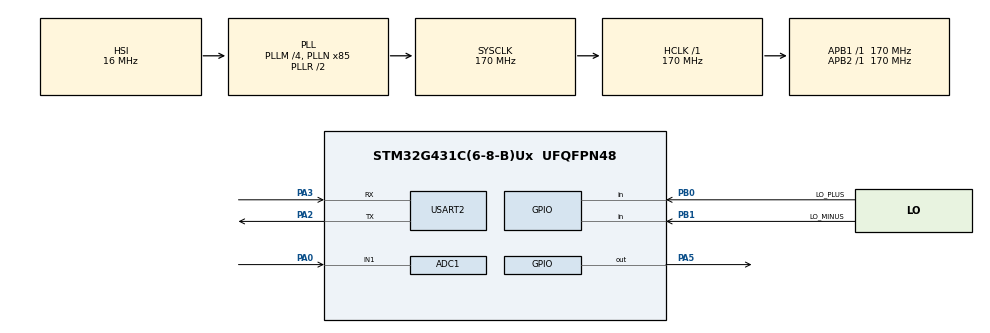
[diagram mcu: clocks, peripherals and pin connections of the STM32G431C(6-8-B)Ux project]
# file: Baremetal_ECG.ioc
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ADC1.Channel-0\#ChannelRegularConversion=ADC_CHANNEL_1
ADC1.ClockPrescaler=ADC_CLOCK_SYNC_PCLK_DIV4
ADC1.DMAContinuousRequests=ENABLE
ADC1.NbrOfConversionFlag=1
ADC1.OffsetNumber-0\#ChannelRegularConversion=ADC_OFFSET_NONE
ADC1.Overrun=ADC_OVR_DATA_OVERWRITTEN
ADC1.Rank-0\#ChannelRegularConversion=1
ADC1.SamplingTime-0\#ChannelRegularConversion=ADC_SAMPLETIME_47CYCLES_5
ADC1.master=1
Dma.ADC1.0.Direction=DMA_PERIPH_TO_MEMORY
Dma.ADC1.0.EventEnable=DISABLE
Dma.ADC1.0.Instance=DMA1_Channel1
Dma.ADC1.0.MemDataAlignment=DMA_MDATAALIGN_HALFWORD
Dma.ADC1.0.MemInc=DMA_MINC_ENABLE
Dma.ADC1.0.Mode=DMA_CIRCULAR
Dma.ADC1.0.PeriphDataAlignment=DMA_PDATAALIGN_HALFWORD
Dma.ADC1.0.PeriphInc=DMA_PINC_DISABLE
Dma.ADC1.0.Polarity=HAL_DMAMUX_REQ_GEN_RISING
Dma.ADC1.0.Priority=DMA_PRIORITY_LOW
Dma.ADC1.0.RequestNumber=1
Dma.ADC1.0.SignalID=NONE
Dma.ADC1.0.SyncEnable=DISABLE
Dma.ADC1.0.SyncPolarity=HAL_DMAMUX_SYNC_NO_EVENT
Dma.ADC1.0.SyncRequestNumber=1
Dma.ADC1.0.SyncSignalID=NONE
Dma.FMAC_READ.1.Direction=DMA_PERIPH_TO_MEMORY
Dma.FMAC_READ.1.EventEnable=DISABLE
Dma.FMAC_READ.1.Instance=DMA1_Channel2
Dma.FMAC_READ.1.MemDataAlignment=DMA_MDATAALIGN_HALFWORD
Dma.FMAC_READ.1.MemInc=DMA_MINC_ENABLE
Dma.FMAC_READ.1.Mode=DMA_CIRCULAR
Dma.FMAC_READ.1.PeriphDataAlignment=DMA_PDATAALIGN_WORD
Dma.FMAC_READ.1.PeriphInc=DMA_PINC_DISABLE
Dma.FMAC_READ.1.Polarity=HAL_DMAMUX_REQ_GEN_RISING
Dma.FMAC_READ.1.Priority=DMA_PRIORITY_MEDIUM
Dma.FMAC_READ.1.RequestNumber=1
Dma.FMAC_READ.1.SignalID=NONE
Dma.FMAC_READ.1.SyncEnable=DISABLE
Dma.FMAC_READ.1.SyncPolarity=HAL_DMAMUX_SYNC_NO_EVENT
Dma.FMAC_READ.1.SyncRequestNumber=1
Dma.FMAC_READ.1.SyncSignalID=NONE
Dma.FMAC_WRITE.2.Direction=DMA_MEMORY_TO_PERIPH
Dma.FMAC_WRITE.2.EventEnable=DISABLE
Dma.FMAC_WRITE.2.Instance=DMA1_Channel3
Dma.FMAC_WRITE.2.MemDataAlignment=DMA_MDATAALIGN_HALFWORD
Dma.FMAC_WRITE.2.MemInc=DMA_MINC_ENABLE
Dma.FMAC_WRITE.2.Mode=DMA_NORMAL
Dma.FMAC_WRITE.2.PeriphDataAlignment=DMA_PDATAALIGN_WORD
Dma.FMAC_WRITE.2.PeriphInc=DMA_PINC_DISABLE
Dma.FMAC_WRITE.2.Polarity=HAL_DMAMUX_REQ_GEN_RISING
Dma.FMAC_WRITE.2.Priority=DMA_PRIORITY_MEDIUM
Dma.FMAC_WRITE.2.RequestNumber=1
Dma.FMAC_WRITE.2.SignalID=NONE
Dma.FMAC_WRITE.2.SyncEnable=DISABLE
Dma.FMAC_WRITE.2.SyncPolarity=HAL_DMAMUX_SYNC_NO_EVENT
Dma.FMAC_WRITE.2.SyncRequestNumber=1
Dma.FMAC_WRITE.2.SyncSignalID=NONE
Dma.Request0=ADC1
Dma.Request1=FMAC_READ
Dma.Request2=FMAC_WRITE
Mcu.Family=STM32G4
Mcu.Name=STM32G431C(6-8-B)Ux
Mcu.Package=UFQFPN48
NVIC.DMA1_Channel1_IRQn=true\:0\:0\:false\:false\:true\:false\:true\:true
NVIC.DMA1_Channel2_IRQn=true\:0\:0\:false\:false\:true\:false\:true\:true
NVIC.DMA1_Channel3_IRQn=true\:0\:0\:false\:false\:true\:false\:true\:true
NVIC.FMAC_IRQn=true\:0\:0\:false\:false\:true\:true\:true\:true
NVIC.PriorityGroup=NVIC_PRIORITYGROUP_4
NVIC.TIM7_IRQn=true\:15\:0\:false\:false\:true\:false\:true\:true
NVIC.TimeBase=TIM7_IRQn
NVIC.TimeBaseIP=TIM7
PA0.Mode=IN1-Single-Ended
PA0.Signal=ADC1_IN1
PA13.Mode=Serial_Wire
PA13.Signal=SYS_JTMS-SWDIO
PA14.Mode=Serial_Wire
PA14.Signal=SYS_JTCK-SWCLK
PA2.Mode=Asynchronous
PA2.Signal=USART2_TX
PA3.Mode=Asynchronous
PA3.Signal=USART2_RX
PA5.Signal=GPIO_Output
PB0.GPIO_Label=LO_PLUS
PB0.Signal=GPIO_Input
PB1.GPIO_Label=LO_MINUS
PB1.Signal=GPIO_Input
PF0-OSC_IN.Mode=HSE-External-Oscillator
PF0-OSC_IN.Signal=RCC_OSC_IN
PF1-OSC_OUT.Mode=HSE-External-Oscillator
PF1-OSC_OUT.Signal=RCC_OSC_OUT
ProjectManager.HeapSize=0x200
ProjectManager.StackSize=0x400
ProjectManager.TargetToolchain=EWARM V8.50
RCC.ADC12Freq_Value=170000000
RCC.AHBFreq_Value=170000000
RCC.APB1Freq_Value=170000000
RCC.APB1TimFreq_Value=170000000
RCC.APB2Freq_Value=170000000
RCC.APB2TimFreq_Value=170000000
RCC.CortexFreq_Value=170000000
RCC.EXTERNAL_CLOCK_VALUE=12288000
RCC.HCLKFreq_Value=170000000
RCC.HSE_VALUE=8000000
RCC.HSI48_VALUE=48000000
RCC.HSI_VALUE=16000000
RCC.LSE_VALUE=32768
RCC.PLLM=RCC_PLLM_DIV4
RCC.PLLN=85
RCC.SYSCLKFreq_VALUE=170000000
RCC.SYSCLKSource=RCC_SYSCLKSOURCE_PLLCLK
RCC.USBFreq_Value=170000000
RCC.VCOOutputFreq_Value=340000000
TIM6.AutoReloadPreload=TIM_AUTORELOAD_PRELOAD_ENABLE
TIM6.PeriodNoDither=471
TIM6.Prescaler=999
TIM6.TIM_MasterOutputTrigger=TIM_TRGO_UPDATE
USART2.VirtualMode-Asynchronous=VM_ASYNC
VP_CORDIC_VS_CORDIC.Mode=CORDIC_Activate
VP_CRC_VS_CRC.Mode=CRC_Activate
VP_FMAC_VS_FMAC.Mode=FMAC_Activate
VP_SYS_VS_DBSignals.Mode=DisableDeadBatterySignals
VP_SYS_VS_tim7.Mode=TIM7
VP_TIM6_VS_ClockSourceINT.Mode=Enable_Timer
board=custom

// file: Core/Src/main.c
/* USER CODE BEGIN Header */
/**
  ******************************************************************************
  * @file           : main.c
  * @brief          : Main program body
  ******************************************************************************
  * @attention
  *
  * Copyright (c) 2026 STMicroelectronics.
  * All rights reserved.
  *
  * This software is licensed under terms that can be found in the LICENSE file
  * in the root directory of this software component.
  * If no LICENSE file comes with this software, it is provided AS-IS.
  *
  ******************************************************************************
  */
/* USER CODE END Header */
#include "main.h"
#include "adc.h"
#include "cordic.h"
#include "crc.h"
#include "dma.h"
#include "fmac.h"
#include "tim.h"
#include "usart.h"
#include "gpio.h"
#include "pan_tompkins.h"
#include <string.h>

/* USER CODE BEGIN PV */

#define ADC_DMA_LENGTH       32u
#define SAMPLE_QUEUE_LENGTH  128u
#define PACKET_QUEUE_LENGTH  64u
#define ECG_PACKET_LENGTH    24u

static uint16_t adc_dma_buffer[ADC_DMA_LENGTH];
static uint16_t sample_queue[SAMPLE_QUEUE_LENGTH];
static uint8_t packet_queue[PACKET_QUEUE_LENGTH][ECG_PACKET_LENGTH];
static uint8_t uart_tx_packet[ECG_PACKET_LENGTH];
static volatile uint16_t sample_head;
static volatile uint16_t sample_tail;
static uint8_t packet_head;
static uint8_t packet_tail;
static volatile bool uart_tx_busy;
static volatile uint32_t sample_overruns;
static PT_Handle pan_tompkins;
static uint32_t last_heartbeat_tick;

static void queue_samples(const uint16_t *samples, uint32_t count)
{
  for (uint32_t i = 0u; i < count; i++)
  {
    uint16_t next = (uint16_t)((sample_head + 1u) % SAMPLE_QUEUE_LENGTH);
    if (next == sample_tail)
    {
      sample_overruns++;
      return;
    }
    sample_queue[sample_head] = samples[i];
    sample_head = next;
  }
}

static bool dequeue_sample(uint16_t *sample)
{
  if (sample_tail == sample_head)
    return false;

  *sample = sample_queue[sample_tail];
  sample_tail = (uint16_t)((sample_tail + 1u) % SAMPLE_QUEUE_LENGTH);
  return true;
}

static uint8_t checksum_packet(const uint8_t *packet)
{
  uint8_t checksum = 0u;
  for (uint32_t i = 2u; i < 22u; i++)
    checksum ^= packet[i];
  return checksum;
}

static void make_packet(uint8_t *packet, uint16_t raw_adc)
{
  uint8_t qrs = PT_QRSDetected(&pan_tompkins) ? 1u : 0u;
  uint8_t lead_off = (HAL_GPIO_ReadPin(LO_PLUS_GPIO_Port, LO_PLUS_Pin)
                   == GPIO_PIN_SET)
                   || (HAL_GPIO_ReadPin(LO_MINUS_GPIO_Port, LO_MINUS_Pin)
                   == GPIO_PIN_SET);

  memset(packet, 0, ECG_PACKET_LENGTH);
  packet[0] = 0xAAu;
  packet[1] = 0x55u;
  memcpy(&packet[2], &raw_adc, sizeof(raw_adc));
  memcpy(&packet[4], &pan_tompkins.last_bpf, sizeof(float));
  memcpy(&packet[8], &pan_tompkins.last_mwi, sizeof(float));
  memcpy(&packet[12], &pan_tompkins.heart_rate_bpm, sizeof(float));
  packet[16] = qrs;
  packet[17] = lead_off ? 1u : 0u;
  memcpy(&packet[18], &pan_tompkins.sample_index, sizeof(uint32_t));
  packet[22] = checksum_packet(packet);
  packet[23] = 0xFFu;
}

static void queue_packet(const uint8_t *packet)
{
  uint8_t next = (uint8_t)((packet_head + 1u) % PACKET_QUEUE_LENGTH);
  if (next == packet_tail)
    return;

  memcpy(packet_queue[packet_head], packet, ECG_PACKET_LENGTH);
  packet_head = next;
}

static void service_uart(void)
{
  if (uart_tx_busy || packet_tail == packet_head)
    return;

  memcpy(uart_tx_packet, packet_queue[packet_tail], ECG_PACKET_LENGTH);
  packet_tail = (uint8_t)((packet_tail + 1u) % PACKET_QUEUE_LENGTH);
  uart_tx_busy = true;
  if (HAL_UART_Transmit_IT(&huart2, uart_tx_packet, ECG_PACKET_LENGTH)
      != HAL_OK)
  {
    uart_tx_busy = false;
  }
}

static void process_samples(void)
{
  uint16_t raw_adc;
  uint8_t packet[ECG_PACKET_LENGTH];

  while (dequeue_sample(&raw_adc))
  {
    PT_Update(&pan_tompkins, raw_adc);
    make_packet(packet, raw_adc);
    queue_packet(packet);
  }
}

/* USER CODE END PV */

void SystemClock_Config(void);

int main(void)
{

  /* MCU Configuration--------------------------------------------------------*/

  /* Reset of all peripherals, Initializes the Flash interface and the Systick. */
  HAL_Init();

  /* Configure the system clock */
  SystemClock_Config();

  /* Initialize all configured peripherals */
  MX_GPIO_Init();
  MX_DMA_Init();
  MX_ADC1_Init();
  MX_CORDIC_Init();
  MX_CRC_Init();
  MX_FMAC_Init();
  MX_TIM6_Init();
  MX_USART2_UART_Init();
  /* USER CODE BEGIN 2 */

  static const uint8_t startup_message[] = "STM32G431 clock=170MHz USART2=115200\r\n";
  if (HAL_UART_Transmit(&huart2, (uint8_t *)startup_message,
                        sizeof(startup_message) - 1u, 100u) != HAL_OK)
  {
    Error_Handler();
  }

  PT_Init(&pan_tompkins);
  if (HAL_ADC_Start_DMA(&hadc1, (uint32_t *)adc_dma_buffer,
                        ADC_DMA_LENGTH) != HAL_OK)
  {
    Error_Handler();
  }
  if (HAL_TIM_Base_Start(&htim6) != HAL_OK)
  {
    Error_Handler();
  }

  /* USER CODE END 2 */

  /* Infinite loop */
  /* USER CODE BEGIN WHILE */
  while (1)
  {
    process_samples();
    service_uart();

    if ((HAL_GetTick() - last_heartbeat_tick) >= 500u)
    {
      last_heartbeat_tick = HAL_GetTick();
      HAL_GPIO_TogglePin(GPIOA, GPIO_PIN_5);
    }

  }
}

void SystemClock_Config(void)
{
  RCC_OscInitTypeDef RCC_OscInitStruct = {0};
  RCC_ClkInitTypeDef RCC_ClkInitStruct = {0};

  /** Configure the main internal regulator output voltage
  */
  HAL_PWREx_ControlVoltageScaling(PWR_REGULATOR_VOLTAGE_SCALE1_BOOST);

  /** Initializes the RCC Oscillators according to the specified parameters
  * in the RCC_OscInitTypeDef structure.
  */
  RCC_OscInitStruct.OscillatorType = RCC_OSCILLATORTYPE_HSI;
  RCC_OscInitStruct.HSIState = RCC_HSI_ON;
  RCC_OscInitStruct.HSICalibrationValue = RCC_HSICALIBRATION_DEFAULT;
  RCC_OscInitStruct.PLL.PLLState = RCC_PLL_ON;
  RCC_OscInitStruct.PLL.PLLSource = RCC_PLLSOURCE_HSI;
  RCC_OscInitStruct.PLL.PLLM = RCC_PLLM_DIV4;
  RCC_OscInitStruct.PLL.PLLN = 85;
  RCC_OscInitStruct.PLL.PLLP = RCC_PLLP_DIV2;
  RCC_OscInitStruct.PLL.PLLQ = RCC_PLLQ_DIV2;
  RCC_OscInitStruct.PLL.PLLR = RCC_PLLR_DIV2;
  if (HAL_RCC_OscConfig(&RCC_OscInitStruct) != HAL_OK)
  {
    Error_Handler();
  }

  /** Initializes the CPU, AHB and APB buses clocks
  */
  RCC_ClkInitStruct.ClockType = RCC_CLOCKTYPE_HCLK|RCC_CLOCKTYPE_SYSCLK
                              |RCC_CLOCKTYPE_PCLK1|RCC_CLOCKTYPE_PCLK2;
  RCC_ClkInitStruct.SYSCLKSource = RCC_SYSCLKSOURCE_PLLCLK;
  RCC_ClkInitStruct.AHBCLKDivider = RCC_SYSCLK_DIV1;
  RCC_ClkInitStruct.APB1CLKDivider = RCC_HCLK_DIV1;
  RCC_ClkInitStruct.APB2CLKDivider = RCC_HCLK_DIV1;

  if (HAL_RCC_ClockConfig(&RCC_ClkInitStruct, FLASH_LATENCY_4) != HAL_OK)
  {
    Error_Handler();
  }
}

/* USER CODE BEGIN 4 */

void HAL_ADC_ConvHalfCpltCallback(ADC_HandleTypeDef *hadc)
{
  if (hadc->Instance == ADC1)
    queue_samples(adc_dma_buffer, ADC_DMA_LENGTH / 2u);
}

void HAL_ADC_ConvCpltCallback(ADC_HandleTypeDef *hadc)
{
  if (hadc->Instance == ADC1)
    queue_samples(&adc_dma_buffer[ADC_DMA_LENGTH / 2u],
                  ADC_DMA_LENGTH / 2u);
}

void HAL_UART_TxCpltCallback(UART_HandleTypeDef *huart)
{
  if (huart->Instance == USART2)
    uart_tx_busy = false;
}

/* USER CODE END 4 */

void HAL_TIM_PeriodElapsedCallback(TIM_HandleTypeDef *htim)
{
  if (htim->Instance == TIM7)
  {
    HAL_IncTick();
  }
}

void Error_Handler(void)
{
  __disable_irq();
  while (1)
  {
  }
}
